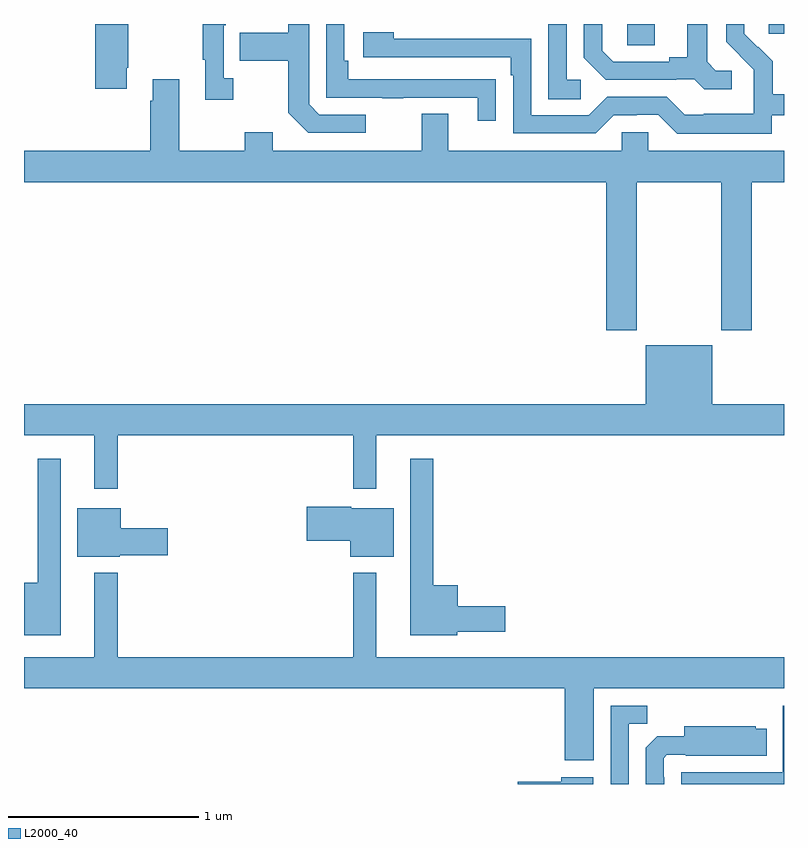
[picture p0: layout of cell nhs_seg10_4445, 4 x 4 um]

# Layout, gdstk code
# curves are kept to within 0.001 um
import gdstk
lib = gdstk.Library(unit=1e-6, precision=1e-09)
def R(c, l, rs):  # rectangles x0, y0, x1, y1
    for r in rs: c.add(gdstk.rectangle(r[:2], r[2:], *l))
def P(c, l, *ps):  # polygons
    for p in ps: c.add(gdstk.Polygon(p, *l))
L2000_40 = (2000, 40)

nhs_seg10_4445 = lib.new_cell('nhs_seg10_4445')
R(nhs_seg10_4445, L2000_40, [(366.174,1282.387,366.319,1282.5), (366.92,1282.449,367,1282.5)])
P(nhs_seg10_4445, L2000_40, [(364.102,1282.214),(364.05,1282.214),(364.05,1282.493),(364.063,1282.493),(364.063,1282.5),(363.942,1282.5),(363.942,1282.313),(363.953,1282.313),(363.953,1282.101),(364.102,1282.101)],
  [(364.798,1282.023),(364.554,1282.023),(364.5,1282.077),(364.5,1282.5),(364.392,1282.5),(364.392,1282.453),(364.135,1282.453),(364.135,1282.306),(364.392,1282.306),(364.392,1282.033),(364.497,1281.927),(364.798,1281.927)],
  [(366.724,1282.254),(366.642,1282.254),(366.595,1282.301),(366.595,1282.5),(366.491,1282.5),(366.491,1282.325),(366.395,1282.325),(366.395,1282.302),(366.1,1282.302),(366.043,1282.359),(366.043,1282.5),(365.946,1282.5),(365.946,1282.322),(366.062,1282.206),(366.434,1282.206),(366.434,1282.209),(366.528,1282.209),(366.58,1282.157),(366.724,1282.157)],
  [(363.541,1282.27),(363.549,1282.27),(363.549,1282.5),(363.374,1282.5),(363.374,1282.158),(363.541,1282.158)],
  [(365.483,1282.208),(365.381,1282.208),(365.381,1282.209),(364.706,1282.209),(364.706,1282.306),(364.686,1282.306),(364.686,1282.5),(364.59,1282.5),(364.59,1282.113),(364.885,1282.113),(364.885,1282.108),(364.997,1282.108),(364.997,1282.113),(365.387,1282.113),(365.387,1281.99),(365.483,1281.99)],
  [(366.936,1282.02),(367,1282.02),(367,1282.129),(366.941,1282.129),(366.941,1282.303),(366.864,1282.38),(366.861,1282.377),(366.791,1282.448),(366.791,1282.5),(366.696,1282.5),(366.696,1282.406),(366.842,1282.258),(366.842,1282.161),(366.84,1282.161),(366.84,1282.027),(366.577,1282.027),(366.577,1282.023),(366.477,1282.023),(366.384,1282.116),(366.069,1282.116),(365.973,1282.02),(365.67,1282.02),(365.67,1282.422),(364.946,1282.422),(364.946,1282.456),(364.785,1282.456),(364.785,1282.326),(365.561,1282.326),(365.561,1282.229),(365.574,1282.229),(365.574,1281.924),(366.009,1281.924),(366.105,1282.02),(366.224,1282.02),(366.224,1282.023),(366.339,1282.023),(366.439,1281.923),(366.936,1281.923)],
  [(365.929,1282.206),(365.856,1282.206),(365.856,1282.5),(365.76,1282.5),(365.76,1282.105),(365.929,1282.105)],
  [(366.225,1281.668),(366.67,1281.668),(366.67,1280.889),(366.83,1280.889),(366.83,1281.668),(367,1281.668),(367,1281.832),(366.285,1281.832),(366.285,1281.93),(366.147,1281.93),(366.147,1281.832),(365.233,1281.832),(365.233,1282.027),(365.093,1282.027),(365.093,1281.832),(364.309,1281.832),(364.309,1281.931),(364.162,1281.931),(364.162,1281.832),(363.817,1281.832),(363.817,1282.21),(363.677,1282.21),(363.677,1282.097),(363.665,1282.097),(363.665,1281.832),(363,1281.832),(363,1281.668),(366.065,1281.668),(366.065,1280.889),(366.225,1280.889)],
  [(363.493,1280.336),(364.734,1280.336),(364.734,1280.055),(364.855,1280.055),(364.855,1280.336),(367,1280.336),(367,1280.5),(366.622,1280.5),(366.622,1280.809),(366.272,1280.809),(366.272,1280.5),(363,1280.5),(363,1280.336),(363.371,1280.336),(363.371,1280.055),(363.493,1280.055)],
  [(363.193,1280.212),(363.072,1280.212),(363.072,1279.559),(363,1279.559),(363,1279.283),(363.193,1279.283)],
  [(365.28,1279.301),(365.533,1279.301),(365.533,1279.436),(365.284,1279.436),(365.284,1279.546),(365.155,1279.546),(365.155,1280.212),(365.033,1280.212),(365.033,1279.283),(365.28,1279.283)],
  [(364.945,1279.951),(364.722,1279.951),(364.722,1279.959),(364.488,1279.959),(364.488,1279.781),(364.718,1279.781),(364.718,1279.697),(364.945,1279.697)],
  [(363.504,1279.703),(363.757,1279.703),(363.757,1279.845),(363.508,1279.845),(363.508,1279.951),(363.281,1279.951),(363.281,1279.697),(363.504,1279.697)],
  [(365.998,1279.004),(367,1279.004),(367,1279.168),(364.855,1279.168),(364.855,1279.612),(364.734,1279.612),(364.734,1279.168),(363.493,1279.168),(363.493,1279.612),(363.371,1279.612),(363.371,1279.168),(363,1279.168),(363,1279.004),(365.846,1279.004),(365.846,1278.624),(365.998,1278.624)],
  [(366.183,1278.817),(366.279,1278.817),(366.279,1278.912),(366.087,1278.912),(366.087,1278.5),(366.183,1278.5)],
  [(367,1278.912),(366.993,1278.912),(366.993,1278.561),(366.459,1278.561),(366.459,1278.5),(367,1278.5)],
  [(366.369,1278.536),(366.366,1278.536),(366.366,1278.636),(366.384,1278.654),(366.484,1278.654),(366.484,1278.65),(366.908,1278.65),(366.908,1278.79),(366.852,1278.79),(366.852,1278.805),(366.476,1278.805),(366.476,1278.751),(366.332,1278.751),(366.273,1278.692),(366.273,1278.5),(366.369,1278.5)],
  [(365.995,1278.535),(365.828,1278.535),(365.828,1278.512),(365.598,1278.512),(365.598,1278.5),(365.995,1278.5)])

lib.write_gds('nhs_seg10_4445.gds')
